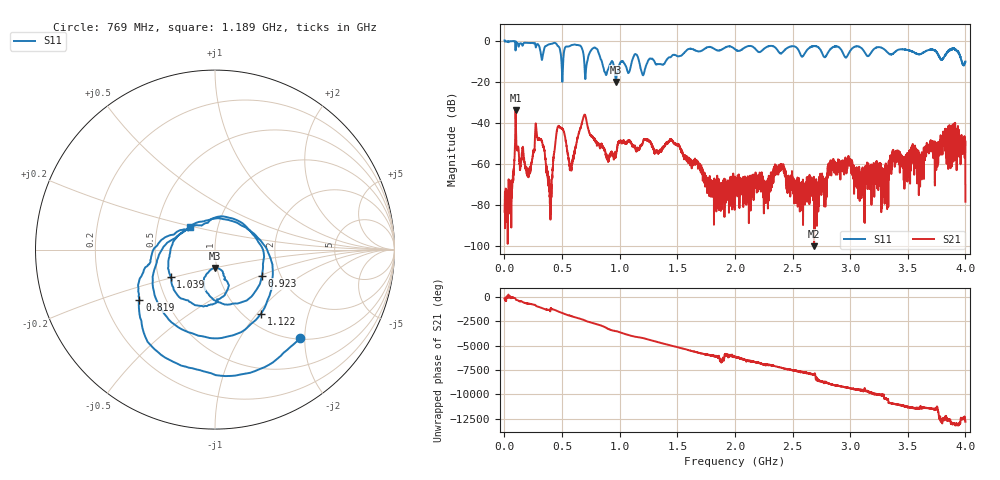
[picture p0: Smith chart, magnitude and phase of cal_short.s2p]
!Created with skrf (http://scikit-rf.org).
# GHz S RI R 50.0
!freq ReS11 ImS11 ReS21 ImS21 ReS12 ImS12 ReS22 ImS22
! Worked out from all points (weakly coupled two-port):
!   4000 points, 1 MHz to 4 GHz, reference 50 ohm
!   highest |S21| = -33.46 dB at 96 MHz (marker M1); lowest = -100.0 dB at 2.687 GHz (marker M2)
!   lowest |S11| = -19.7 dB at 967 MHz (marker M3), VSWR 1.23, Z = 48.8 - j10.2 ohm
!   |S11| at or under -10 dB: 846.2 MHz to 926.3 MHz (80.07 MHz wide, 9.03 % of centre); 1.032 GHz to 1.104 GHz (72.8 MHz wide, 6.82 % of centre); 1.304 GHz to 1.396 GHz (92.4 MHz wide, 6.85 % of centre) (the widest 3 of 8)
!   S12 and S22 are empty: the file has one direction only
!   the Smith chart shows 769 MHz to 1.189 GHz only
!   S11 on the Smith chart (normalised r, x): 769 MHz: 1.03, -1.90; 819 MHz: 0.36, -0.27; 923 MHz: 1.60, -0.52; 1.039 GHz: 0.58, -0.19; 1.122 GHz: 1.18, -1.05; 1.189 GHz: 0.74, +0.19
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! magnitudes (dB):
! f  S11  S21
! 1 MHz  0.5  -83.2
! 96 MHz  -4.4  -33.5
! 210 MHz  -0.8  -64.4
! 286 MHz  -1.3  -47.3
! 395 MHz  -1.3  -74.2
! 468 MHz  -2.4  -41.6
! 575 MHz  -2.0  -61.2
! 668 MHz  -2.8  -40.6
! 769 MHz  -3.3  -47.0
! 819 MHz  -5.9  -50.2
! 923 MHz  -10.5  -55.3
! 967 MHz  -19.7  -55.0
! 1.039 GHz  -10.7  -48.7
! 1.122 GHz  -7.1  -50.9
! 1.189 GHz  -14.6  -50.6
! 1.334 GHz  -11.1  -54.9
! 2.001 GHz  -3.8  -73.7
! 2.667 GHz  -2.5  -69.9
! 2.687 GHz  -2.3  -100.0
! 3.334 GHz  -5.8  -58.6
! 3.875 GHz  -3.8  -45.9
! 4 GHz  -9.8  -78.3
